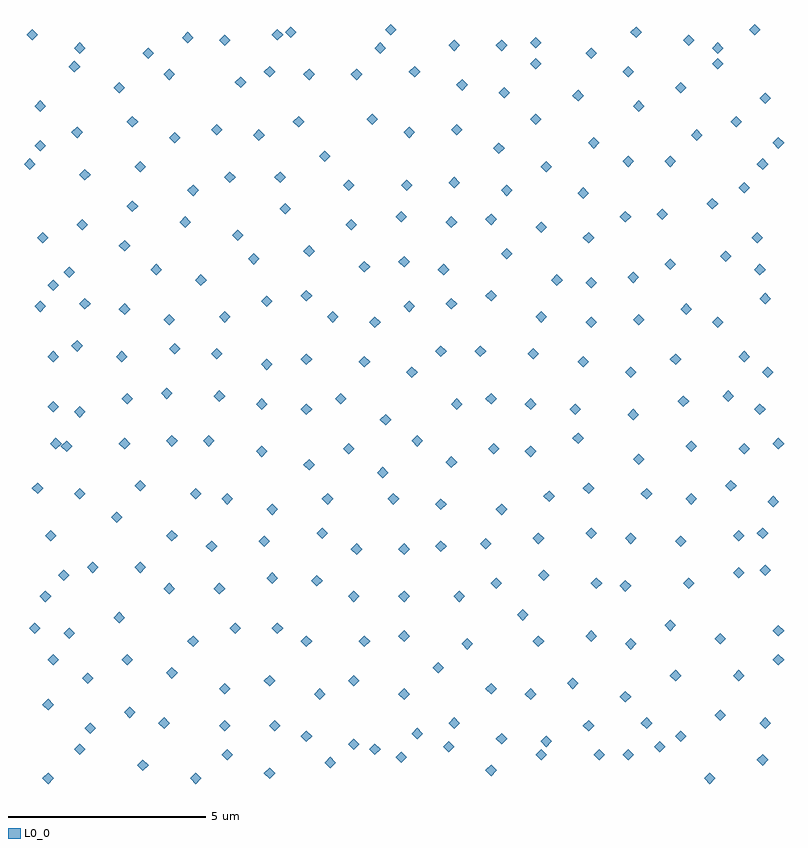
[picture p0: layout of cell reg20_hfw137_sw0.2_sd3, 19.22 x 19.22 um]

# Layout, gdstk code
import gdstk
lib = gdstk.Library(unit=1e-6, precision=1e-11)
def P(c, l, *ps):  # polygons
    for p in ps: c.add(gdstk.Polygon(p, *l))
L0_0 = (0, 0)

reg20_hfw137_sw0_2_sd3 = lib.new_cell('reg20_hfw137_sw0.2_sd3')
P(reg20_hfw137_sw0_2_sd3, L0_0, [(0.404,15.9374),(0.5455,15.796),(0.404,15.6545),(0.2626,15.796)],
  [(0.4707,19.204),(0.6121,19.0626),(0.4707,18.9212),(0.3293,19.0626)],
  [(0.5374,4.204),(0.6788,4.0626),(0.5374,3.9212),(0.396,4.0626)],
  [(0.604,7.7374),(0.7455,7.596),(0.604,7.4545),(0.4626,7.596)],
  [(0.6707,12.3374),(0.8121,12.196),(0.6707,12.0545),(0.5293,12.196)],
  [(0.6707,16.404),(0.8121,16.2626),(0.6707,16.1212),(0.5293,16.2626)],
  [(0.6707,17.404),(0.8121,17.2626),(0.6707,17.1212),(0.5293,17.2626)],
  [(0.7374,14.0707),(0.8788,13.9293),(0.7374,13.7879),(0.596,13.9293)],
  [(0.804,5.004),(0.9455,4.8626),(0.804,4.7212),(0.6626,4.8626)],
  [(0.8707,0.404),(1.0121,0.2626),(0.8707,0.1212),(0.7293,0.2626)],
  [(0.8707,2.2707),(1.0121,2.1293),(0.8707,1.9879),(0.7293,2.1293)],
  [(0.9374,6.5374),(1.0788,6.396),(0.9374,6.2545),(0.796,6.396)],
  [(1.004,3.404),(1.1455,3.2626),(1.004,3.1212),(0.8626,3.2626)],
  [(1.004,9.804),(1.1455,9.6626),(1.004,9.5212),(0.8626,9.6626)],
  [(1.004,11.0707),(1.1455,10.9293),(1.004,10.7879),(0.8626,10.9293)],
  [(1.004,12.8707),(1.1455,12.7293),(1.004,12.5879),(0.8626,12.7293)],
  [(1.0707,8.8707),(1.2121,8.7293),(1.0707,8.5879),(0.9293,8.7293)],
  [(1.2707,5.5374),(1.4121,5.396),(1.2707,5.2545),(1.1293,5.396)],
  [(1.3374,8.804),(1.4788,8.6626),(1.3374,8.5212),(1.196,8.6626)],
  [(1.404,4.0707),(1.5455,3.9293),(1.404,3.7879),(1.2626,3.9293)],
  [(1.404,13.204),(1.5455,13.0626),(1.404,12.9212),(1.2626,13.0626)],
  [(1.5374,18.404),(1.6788,18.2626),(1.5374,18.1212),(1.396,18.2626)],
  [(1.604,11.3374),(1.7455,11.196),(1.604,11.0545),(1.4626,11.196)],
  [(1.604,16.7374),(1.7455,16.596),(1.604,16.4545),(1.4626,16.596)],
  [(1.6707,1.1374),(1.8121,0.996),(1.6707,0.8545),(1.5293,0.996)],
  [(1.6707,7.604),(1.8121,7.4626),(1.6707,7.3212),(1.5293,7.4626)],
  [(1.6707,9.6707),(1.8121,9.5293),(1.6707,9.3879),(1.5293,9.5293)],
  [(1.6707,18.8707),(1.8121,18.7293),(1.6707,18.5879),(1.5293,18.7293)],
  [(1.7374,14.404),(1.8788,14.2626),(1.7374,14.1212),(1.596,14.2626)],
  [(1.804,12.404),(1.9455,12.2626),(1.804,12.1212),(1.6626,12.2626)],
  [(1.804,15.6707),(1.9455,15.5293),(1.804,15.3879),(1.6626,15.5293)],
  [(1.8707,2.9374),(2.0121,2.796),(1.8707,2.6545),(1.7293,2.796)],
  [(1.9374,1.6707),(2.0788,1.5293),(1.9374,1.3879),(1.796,1.5293)],
  [(2.004,5.7374),(2.1455,5.596),(2.004,5.4545),(1.8626,5.596)],
  [(2.604,7.004),(2.7455,6.8626),(2.604,6.7212),(2.4626,6.8626)],
  [(2.6707,4.4707),(2.8121,4.3293),(2.6707,4.1879),(2.5293,4.3293)],
  [(2.6707,17.8707),(2.8121,17.7293),(2.6707,17.5879),(2.5293,17.7293)],
  [(2.7374,11.0707),(2.8788,10.9293),(2.7374,10.7879),(2.596,10.9293)],
  [(2.804,8.8707),(2.9455,8.7293),(2.804,8.5879),(2.6626,8.7293)],
  [(2.804,12.2707),(2.9455,12.1293),(2.804,11.9879),(2.6626,12.1293)],
  [(2.804,13.8707),(2.9455,13.7293),(2.804,13.5879),(2.6626,13.7293)],
  [(2.8707,3.404),(3.0121,3.2626),(2.8707,3.1212),(2.7293,3.2626)],
  [(2.8707,10.004),(3.0121,9.8626),(2.8707,9.7212),(2.7293,9.8626)],
  [(2.9374,2.0707),(3.0788,1.9293),(2.9374,1.7879),(2.796,1.9293)],
  [(3.004,14.8707),(3.1455,14.7293),(3.004,14.5879),(2.8626,14.7293)],
  [(3.004,17.004),(3.1455,16.8626),(3.004,16.7212),(2.8626,16.8626)],
  [(3.204,5.7374),(3.3455,5.596),(3.204,5.4545),(3.0626,5.596)],
  [(3.204,7.804),(3.3455,7.6626),(3.204,7.5212),(3.0626,7.6626)],
  [(3.204,15.8707),(3.3455,15.7293),(3.204,15.5879),(3.0626,15.7293)],
  [(3.2707,0.7374),(3.4121,0.596),(3.2707,0.4545),(3.1293,0.596)],
  [(3.404,18.7374),(3.5455,18.596),(3.404,18.4545),(3.2626,18.596)],
  [(3.604,13.2707),(3.7455,13.1293),(3.604,12.9879),(3.4626,13.1293)],
  [(3.804,1.804),(3.9455,1.6626),(3.804,1.5212),(3.6626,1.6626)],
  [(3.8707,10.1374),(4.0121,9.996),(3.8707,9.8545),(3.7293,9.996)],
  [(3.9374,5.204),(4.0788,5.0626),(3.9374,4.9212),(3.796,5.0626)],
  [(3.9374,12.004),(4.0788,11.8626),(3.9374,11.7212),(3.796,11.8626)],
  [(3.9374,18.204),(4.0788,18.0626),(3.9374,17.9212),(3.796,18.0626)],
  [(4.004,3.0707),(4.1455,2.9293),(4.004,2.7879),(3.8626,2.9293)],
  [(4.004,6.5374),(4.1455,6.396),(4.004,6.2545),(3.8626,6.396)],
  [(4.004,8.9374),(4.1455,8.796),(4.004,8.6545),(3.8626,8.796)],
  [(4.0707,11.2707),(4.2121,11.1293),(4.0707,10.9879),(3.9293,11.1293)],
  [(4.0707,16.604),(4.2121,16.4626),(4.0707,16.3212),(3.9293,16.4626)],
  [(4.3374,14.4707),(4.4788,14.3293),(4.3374,14.1879),(4.196,14.3293)],
  [(4.404,19.1374),(4.5455,18.996),(4.404,18.8545),(4.2626,18.996)],
  [(4.5374,3.8707),(4.6788,3.7293),(4.5374,3.5879),(4.396,3.7293)],
  [(4.5374,15.2707),(4.6788,15.1293),(4.5374,14.9879),(4.396,15.1293)],
  [(4.604,0.404),(4.7455,0.2626),(4.604,0.1212),(4.4626,0.2626)],
  [(4.604,7.604),(4.7455,7.4626),(4.604,7.3212),(4.4626,7.4626)],
  [(4.7374,13.004),(4.8788,12.8626),(4.7374,12.7212),(4.596,12.8626)],
  [(4.9374,8.9374),(5.0788,8.796),(4.9374,8.6545),(4.796,8.796)],
  [(5.004,6.2707),(5.1455,6.1293),(5.004,5.9879),(4.8626,6.1293)],
  [(5.1374,11.1374),(5.2788,10.996),(5.1374,10.8545),(4.996,10.996)],
  [(5.1374,16.804),(5.2788,16.6626),(5.1374,16.5212),(4.996,16.6626)],
  [(5.204,5.204),(5.3455,5.0626),(5.204,4.9212),(5.0626,5.0626)],
  [(5.204,10.0707),(5.3455,9.9293),(5.204,9.7879),(5.0626,9.9293)],
  [(5.3374,1.7374),(5.4788,1.596),(5.3374,1.4545),(5.196,1.596)],
  [(5.3374,2.6707),(5.4788,2.5293),(5.3374,2.3879),(5.196,2.5293)],
  [(5.3374,12.0707),(5.4788,11.9293),(5.3374,11.7879),(5.196,11.9293)],
  [(5.3374,19.0707),(5.4788,18.9293),(5.3374,18.7879),(5.196,18.9293)],
  [(5.404,1.004),(5.5455,0.8626),(5.404,0.7212),(5.2626,0.8626)],
  [(5.404,7.4707),(5.5455,7.3293),(5.404,7.1879),(5.2626,7.3293)],
  [(5.4707,15.604),(5.6121,15.4626),(5.4707,15.3212),(5.3293,15.4626)],
  [(5.604,4.204),(5.7455,4.0626),(5.604,3.9212),(5.4626,4.0626)],
  [(5.6707,14.1374),(5.8121,13.996),(5.6707,13.8545),(5.5293,13.996)],
  [(5.7374,18.004),(5.8788,17.8626),(5.7374,17.7212),(5.596,17.8626)],
  [(6.0707,13.5374),(6.2121,13.396),(6.0707,13.2545),(5.9293,13.396)],
  [(6.204,16.6707),(6.3455,16.5293),(6.204,16.3879),(6.0626,16.5293)],
  [(6.2707,8.6707),(6.4121,8.5293),(6.2707,8.3879),(6.1293,8.5293)],
  [(6.2707,9.8707),(6.4121,9.7293),(6.2707,9.5879),(6.1293,9.7293)],
  [(6.3374,6.404),(6.4788,6.2626),(6.3374,6.1212),(6.196,6.2626)],
  [(6.404,10.8707),(6.5455,10.7293),(6.404,10.5879),(6.2626,10.7293)],
  [(6.404,12.4707),(6.5455,12.3293),(6.404,12.1879),(6.2626,12.3293)],
  [(6.4707,0.5374),(6.6121,0.396),(6.4707,0.2545),(6.3293,0.396)],
  [(6.4707,2.8707),(6.6121,2.7293),(6.4707,2.5879),(6.3293,2.7293)],
  [(6.4707,18.2707),(6.6121,18.1293),(6.4707,17.9879),(6.3293,18.1293)],
  [(6.5374,5.4707),(6.6788,5.3293),(6.5374,5.1879),(6.396,5.3293)],
  [(6.5374,7.204),(6.6788,7.0626),(6.5374,6.9212),(6.396,7.0626)],
  [(6.604,1.7374),(6.7455,1.596),(6.604,1.4545),(6.4626,1.596)],
  [(6.6707,4.204),(6.8121,4.0626),(6.6707,3.9212),(6.5293,4.0626)],
  [(6.6707,19.204),(6.8121,19.0626),(6.6707,18.9212),(6.5293,19.0626)],
  [(6.7374,15.604),(6.8788,15.4626),(6.7374,15.3212),(6.596,15.4626)],
  [(6.8707,14.804),(7.0121,14.6626),(6.8707,14.5212),(6.7293,14.6626)],
  [(7.004,19.2707),(7.1455,19.1293),(7.004,18.9879),(6.8626,19.1293)],
  [(7.204,17.004),(7.3455,16.8626),(7.204,16.7212),(7.0626,16.8626)],
  [(7.404,1.4707),(7.5455,1.3293),(7.404,1.1879),(7.2626,1.3293)],
  [(7.404,3.8707),(7.5455,3.7293),(7.404,3.5879),(7.2626,3.7293)],
  [(7.404,9.7374),(7.5455,9.596),(7.404,9.4545),(7.2626,9.596)],
  [(7.404,11.004),(7.5455,10.8626),(7.404,10.7212),(7.2626,10.8626)],
  [(7.404,12.604),(7.5455,12.4626),(7.404,12.3212),(7.2626,12.4626)],
  [(7.4707,8.3374),(7.6121,8.196),(7.4707,8.0545),(7.3293,8.196)],
  [(7.4707,13.7374),(7.6121,13.596),(7.4707,13.4545),(7.3293,13.596)],
  [(7.4707,18.204),(7.6121,18.0626),(7.4707,17.9212),(7.3293,18.0626)],
  [(7.6707,5.404),(7.8121,5.2626),(7.6707,5.1212),(7.5293,5.2626)],
  [(7.7374,2.5374),(7.8788,2.396),(7.7374,2.2545),(7.596,2.396)],
  [(7.804,6.604),(7.9455,6.4626),(7.804,6.3212),(7.6626,6.4626)],
  [(7.8707,16.1374),(8.0121,15.996),(7.8707,15.8545),(7.7293,15.996)],
  [(7.9374,7.4707),(8.0788,7.3293),(7.9374,7.1879),(7.796,7.3293)],
  [(8.004,0.804),(8.1455,0.6626),(8.004,0.5212),(7.8626,0.6626)],
  [(8.0707,12.0707),(8.2121,11.9293),(8.0707,11.7879),(7.9293,11.9293)],
  [(8.2707,10.004),(8.4121,9.8626),(8.2707,9.7212),(8.1293,9.8626)],
  [(8.4707,8.7374),(8.6121,8.596),(8.4707,8.4545),(8.3293,8.596)],
  [(8.4707,15.404),(8.6121,15.2626),(8.4707,15.1212),(8.3293,15.2626)],
  [(8.5374,14.404),(8.6788,14.2626),(8.5374,14.1212),(8.396,14.2626)],
  [(8.604,1.2707),(8.7455,1.1293),(8.604,0.9879),(8.4626,1.1293)],
  [(8.604,2.8707),(8.7455,2.7293),(8.604,2.5879),(8.4626,2.7293)],
  [(8.604,5.004),(8.7455,4.8626),(8.604,4.7212),(8.4626,4.8626)],
  [(8.6707,6.204),(8.8121,6.0626),(8.6707,5.9212),(8.5293,6.0626)],
  [(8.6707,18.204),(8.8121,18.0626),(8.6707,17.9212),(8.5293,18.0626)],
  [(8.8707,3.8707),(9.0121,3.7293),(8.8707,3.5879),(8.7293,3.7293)],
  [(8.8707,10.9374),(9.0121,10.796),(8.8707,10.6545),(8.7293,10.796)],
  [(8.8707,13.3374),(9.0121,13.196),(8.8707,13.0545),(8.7293,13.196)],
  [(9.0707,17.0707),(9.2121,16.9293),(9.0707,16.7879),(8.9293,16.9293)],
  [(9.1374,1.1374),(9.2788,0.996),(9.1374,0.8545),(8.996,0.996)],
  [(9.1374,11.9374),(9.2788,11.796),(9.1374,11.6545),(8.996,11.796)],
  [(9.2707,18.8707),(9.4121,18.7293),(9.2707,18.5879),(9.1293,18.7293)],
  [(9.3374,8.1374),(9.4788,7.996),(9.3374,7.8545),(9.196,7.996)],
  [(9.404,9.4707),(9.5455,9.3293),(9.404,9.1879),(9.2626,9.3293)],
  [(9.5374,19.3374),(9.6788,19.196),(9.5374,19.0545),(9.396,19.196)],
  [(9.604,7.4707),(9.7455,7.3293),(9.604,7.1879),(9.4626,7.3293)],
  [(9.804,0.9374),(9.9455,0.796),(9.804,0.6545),(9.6626,0.796)],
  [(9.804,14.604),(9.9455,14.4626),(9.804,14.3212),(9.6626,14.4626)],
  [(9.8707,2.5374),(10.0121,2.396),(9.8707,2.2545),(9.7293,2.396)],
  [(9.8707,4.004),(10.0121,3.8626),(9.8707,3.7212),(9.7293,3.8626)],
  [(9.8707,5.004),(10.0121,4.8626),(9.8707,4.7212),(9.7293,4.8626)],
  [(9.8707,6.204),(10.0121,6.0626),(9.8707,5.9212),(9.7293,6.0626)],
  [(9.8707,13.4707),(10.0121,13.3293),(9.8707,13.1879),(9.7293,13.3293)],
  [(9.9374,15.404),(10.0788,15.2626),(9.9374,15.1212),(9.796,15.2626)],
  [(10.004,12.3374),(10.1455,12.196),(10.004,12.0545),(9.8626,12.196)],
  [(10.004,16.7374),(10.1455,16.596),(10.004,16.4545),(9.8626,16.596)],
  [(10.0707,10.6707),(10.2121,10.5293),(10.0707,10.3879),(9.9293,10.5293)],
  [(10.1374,18.2707),(10.2788,18.1293),(10.1374,17.9879),(9.996,18.1293)],
  [(10.204,1.5374),(10.3455,1.396),(10.204,1.2545),(10.0626,1.396)],
  [(10.204,8.9374),(10.3455,8.796),(10.204,8.6545),(10.0626,8.796)],
  [(10.7374,3.204),(10.8788,3.0626),(10.7374,2.9212),(10.596,3.0626)],
  [(10.804,6.2707),(10.9455,6.1293),(10.804,5.9879),(10.6626,6.1293)],
  [(10.804,7.3374),(10.9455,7.196),(10.804,7.0545),(10.6626,7.196)],
  [(10.804,11.204),(10.9455,11.0626),(10.804,10.9212),(10.6626,11.0626)],
  [(10.8707,13.2707),(11.0121,13.1293),(10.8707,12.9879),(10.7293,13.1293)],
  [(11.004,1.204),(11.1455,1.0626),(11.004,0.9212),(10.8626,1.0626)],
  [(11.0707,8.404),(11.2121,8.2626),(11.0707,8.1212),(10.9293,8.2626)],
  [(11.0707,12.404),(11.2121,12.2626),(11.0707,12.1212),(10.9293,12.2626)],
  [(11.0707,14.4707),(11.2121,14.3293),(11.0707,14.1879),(10.9293,14.3293)],
  [(11.1374,1.804),(11.2788,1.6626),(11.1374,1.5212),(10.996,1.6626)],
  [(11.1374,15.4707),(11.2788,15.3293),(11.1374,15.1879),(10.996,15.3293)],
  [(11.1374,18.9374),(11.2788,18.796),(11.1374,18.6545),(10.996,18.796)],
  [(11.204,9.8707),(11.3455,9.7293),(11.204,9.5879),(11.0626,9.7293)],
  [(11.204,16.804),(11.3455,16.6626),(11.204,16.5212),(11.0626,16.6626)],
  [(11.2707,5.004),(11.4121,4.8626),(11.2707,4.7212),(11.1293,4.8626)],
  [(11.3374,17.9374),(11.4788,17.796),(11.3374,17.6545),(11.196,17.796)],
  [(11.4707,3.804),(11.6121,3.6626),(11.4707,3.5212),(11.3293,3.6626)],
  [(11.804,11.204),(11.9455,11.0626),(11.804,10.9212),(11.6626,11.0626)],
  [(11.9374,6.3374),(12.0788,6.196),(11.9374,6.0545),(11.796,6.196)],
  [(12.0707,0.604),(12.2121,0.4626),(12.0707,0.3212),(11.9293,0.4626)],
  [(12.0707,2.6707),(12.2121,2.5293),(12.0707,2.3879),(11.9293,2.5293)],
  [(12.0707,10.004),(12.2121,9.8626),(12.0707,9.7212),(11.9293,9.8626)],
  [(12.0707,12.604),(12.2121,12.4626),(12.0707,12.3212),(11.9293,12.4626)],
  [(12.0707,14.5374),(12.2121,14.396),(12.0707,14.2545),(11.9293,14.396)],
  [(12.1374,8.7374),(12.2788,8.596),(12.1374,8.4545),(11.996,8.596)],
  [(12.204,5.3374),(12.3455,5.196),(12.204,5.0545),(12.0626,5.196)],
  [(12.2707,16.3374),(12.4121,16.196),(12.2707,16.0545),(12.1293,16.196)],
  [(12.3374,1.404),(12.4788,1.2626),(12.3374,1.1212),(12.196,1.2626)],
  [(12.3374,7.204),(12.4788,7.0626),(12.3374,6.9212),(12.196,7.0626)],
  [(12.3374,18.9374),(12.4788,18.796),(12.3374,18.6545),(12.196,18.796)],
  [(12.404,17.7374),(12.5455,17.596),(12.404,17.4545),(12.2626,17.596)],
  [(12.4707,13.6707),(12.6121,13.5293),(12.4707,13.3879),(12.3293,13.5293)],
  [(12.4707,15.2707),(12.6121,15.1293),(12.4707,14.9879),(12.3293,15.1293)],
  [(12.8707,4.5374),(13.0121,4.396),(12.8707,4.2545),(12.7293,4.396)],
  [(13.0707,2.5374),(13.2121,2.396),(13.0707,2.2545),(12.9293,2.396)],
  [(13.0707,8.6707),(13.2121,8.5293),(13.0707,8.3879),(12.9293,8.5293)],
  [(13.0707,9.8707),(13.2121,9.7293),(13.0707,9.5879),(12.9293,9.7293)],
  [(13.1374,11.1374),(13.2788,10.996),(13.1374,10.8545),(12.996,10.996)],
  [(13.204,17.0707),(13.3455,16.9293),(13.204,16.7879),(13.0626,16.9293)],
  [(13.204,18.4707),(13.3455,18.3293),(13.204,18.1879),(13.0626,18.3293)],
  [(13.204,19.004),(13.3455,18.8626),(13.204,18.7212),(13.0626,18.8626)],
  [(13.2707,3.8707),(13.4121,3.7293),(13.2707,3.5879),(13.1293,3.7293)],
  [(13.2707,6.4707),(13.4121,6.3293),(13.2707,6.1879),(13.1293,6.3293)],
  [(13.3374,1.004),(13.4788,0.8626),(13.3374,0.7212),(13.196,0.8626)],
  [(13.3374,12.0707),(13.4788,11.9293),(13.3374,11.7879),(13.196,11.9293)],
  [(13.3374,14.3374),(13.4788,14.196),(13.3374,14.0545),(13.196,14.196)],
  [(13.404,5.5374),(13.5455,5.396),(13.404,5.2545),(13.2626,5.396)],
  [(13.4707,1.3374),(13.6121,1.196),(13.4707,1.0545),(13.3293,1.196)],
  [(13.4707,15.8707),(13.6121,15.7293),(13.4707,15.5879),(13.3293,15.7293)],
  [(13.5374,7.5374),(13.6788,7.396),(13.5374,7.2545),(13.396,7.396)],
  [(13.7374,13.004),(13.8788,12.8626),(13.7374,12.7212),(13.596,12.8626)],
  [(14.1374,2.804),(14.2788,2.6626),(14.1374,2.5212),(13.996,2.6626)],
  [(14.204,9.7374),(14.3455,9.596),(14.204,9.4545),(14.0626,9.596)],
  [(14.2707,9.004),(14.4121,8.8626),(14.2707,8.7212),(14.1293,8.8626)],
  [(14.2707,17.6707),(14.4121,17.5293),(14.2707,17.3879),(14.1293,17.5293)],
  [(14.404,10.9374),(14.5455,10.796),(14.404,10.6545),(14.2626,10.796)],
  [(14.404,15.204),(14.5455,15.0626),(14.404,14.9212),(14.2626,15.0626)],
  [(14.5374,1.7374),(14.6788,1.596),(14.5374,1.4545),(14.396,1.596)],
  [(14.5374,7.7374),(14.6788,7.596),(14.5374,7.4545),(14.396,7.596)],
  [(14.5374,14.0707),(14.6788,13.9293),(14.5374,13.7879),(14.396,13.9293)],
  [(14.604,4.004),(14.7455,3.8626),(14.604,3.7212),(14.4626,3.8626)],
  [(14.604,6.604),(14.7455,6.4626),(14.604,6.3212),(14.4626,6.4626)],
  [(14.604,11.9374),(14.7455,11.796),(14.604,11.6545),(14.4626,11.796)],
  [(14.604,12.9374),(14.7455,12.796),(14.604,12.6545),(14.4626,12.796)],
  [(14.604,18.7374),(14.7455,18.596),(14.604,18.4545),(14.4626,18.596)],
  [(14.6707,16.4707),(14.8121,16.3293),(14.6707,16.1879),(14.5293,16.3293)],
  [(14.7374,5.3374),(14.8788,5.196),(14.7374,5.0545),(14.596,5.196)],
  [(14.804,1.004),(14.9455,0.8626),(14.804,0.7212),(14.6626,0.8626)],
  [(15.4707,2.4707),(15.6121,2.3293),(15.4707,2.1879),(15.3293,2.3293)],
  [(15.4707,5.2707),(15.6121,5.1293),(15.4707,4.9879),(15.3293,5.1293)],
  [(15.4707,14.604),(15.6121,14.4626),(15.4707,14.3212),(15.3293,14.4626)],
  [(15.5374,1.004),(15.6788,0.8626),(15.5374,0.7212),(15.396,0.8626)],
  [(15.5374,16.004),(15.6788,15.8626),(15.5374,15.7212),(15.396,15.8626)],
  [(15.5374,18.2707),(15.6788,18.1293),(15.5374,17.9879),(15.396,18.1293)],
  [(15.604,3.804),(15.7455,3.6626),(15.604,3.5212),(15.4626,3.6626)],
  [(15.604,6.4707),(15.7455,6.3293),(15.604,6.1879),(15.4626,6.3293)],
  [(15.604,10.6707),(15.7455,10.5293),(15.604,10.3879),(15.4626,10.5293)],
  [(15.6707,9.604),(15.8121,9.4626),(15.6707,9.3212),(15.5293,9.4626)],
  [(15.6707,13.0707),(15.8121,12.9293),(15.6707,12.7879),(15.5293,12.9293)],
  [(15.7374,19.2707),(15.8788,19.1293),(15.7374,18.9879),(15.596,19.1293)],
  [(15.804,8.4707),(15.9455,8.3293),(15.804,8.1879),(15.6626,8.3293)],
  [(15.804,12.004),(15.9455,11.8626),(15.804,11.7212),(15.6626,11.8626)],
  [(15.804,17.404),(15.9455,17.2626),(15.804,17.1212),(15.6626,17.2626)],
  [(16.004,1.804),(16.1455,1.6626),(16.004,1.5212),(15.8626,1.6626)],
  [(16.004,7.604),(16.1455,7.4626),(16.004,7.3212),(15.8626,7.4626)],
  [(16.3374,1.204),(16.4788,1.0626),(16.3374,0.9212),(16.196,1.0626)],
  [(16.404,14.6707),(16.5455,14.5293),(16.404,14.3879),(16.2626,14.5293)],
  [(16.604,4.2707),(16.7455,4.1293),(16.604,3.9879),(16.4626,4.1293)],
  [(16.604,13.404),(16.7455,13.2626),(16.604,13.1212),(16.4626,13.2626)],
  [(16.604,16.004),(16.7455,15.8626),(16.604,15.7212),(16.4626,15.8626)],
  [(16.7374,3.004),(16.8788,2.8626),(16.7374,2.7212),(16.596,2.8626)],
  [(16.7374,11.004),(16.8788,10.8626),(16.7374,10.7212),(16.596,10.8626)],
  [(16.8707,1.4707),(17.0121,1.3293),(16.8707,1.1879),(16.7293,1.3293)],
  [(16.8707,6.404),(17.0121,6.2626),(16.8707,6.1212),(16.7293,6.2626)],
  [(16.8707,17.8707),(17.0121,17.7293),(16.8707,17.5879),(16.7293,17.7293)],
  [(16.9374,9.9374),(17.0788,9.796),(16.9374,9.6545),(16.796,9.796)],
  [(17.004,12.2707),(17.1455,12.1293),(17.004,11.9879),(16.8626,12.1293)],
  [(17.0707,5.3374),(17.2121,5.196),(17.0707,5.0545),(16.9293,5.196)],
  [(17.0707,19.0707),(17.2121,18.9293),(17.0707,18.7879),(16.9293,18.9293)],
  [(17.1374,7.4707),(17.2788,7.3293),(17.1374,7.1879),(16.996,7.3293)],
  [(17.1374,8.804),(17.2788,8.6626),(17.1374,8.5212),(16.996,8.6626)],
  [(17.2707,16.6707),(17.4121,16.5293),(17.2707,16.3879),(17.1293,16.5293)],
  [(17.604,0.404),(17.7455,0.2626),(17.604,0.1212),(17.4626,0.2626)],
  [(17.6707,14.9374),(17.8121,14.796),(17.6707,14.6545),(17.5293,14.796)],
  [(17.804,11.9374),(17.9455,11.796),(17.804,11.6545),(17.6626,11.796)],
  [(17.804,18.4707),(17.9455,18.3293),(17.804,18.1879),(17.6626,18.3293)],
  [(17.804,18.8707),(17.9455,18.7293),(17.804,18.5879),(17.6626,18.7293)],
  [(17.8707,2.004),(18.0121,1.8626),(17.8707,1.7212),(17.7293,1.8626)],
  [(17.8707,3.9374),(18.0121,3.796),(17.8707,3.6545),(17.7293,3.796)],
  [(18.004,13.604),(18.1455,13.4626),(18.004,13.3212),(17.8626,13.4626)],
  [(18.0707,10.0707),(18.2121,9.9293),(18.0707,9.7879),(17.9293,9.9293)],
  [(18.1374,7.804),(18.2788,7.6626),(18.1374,7.5212),(17.996,7.6626)],
  [(18.2707,17.004),(18.4121,16.8626),(18.2707,16.7212),(18.1293,16.8626)],
  [(18.3374,3.004),(18.4788,2.8626),(18.3374,2.7212),(18.196,2.8626)],
  [(18.3374,5.604),(18.4788,5.4626),(18.3374,5.3212),(18.196,5.4626)],
  [(18.3374,6.5374),(18.4788,6.396),(18.3374,6.2545),(18.196,6.396)],
  [(18.4707,8.7374),(18.6121,8.596),(18.4707,8.4545),(18.3293,8.596)],
  [(18.4707,11.0707),(18.6121,10.9293),(18.4707,10.7879),(18.3293,10.9293)],
  [(18.4707,15.3374),(18.6121,15.196),(18.4707,15.0545),(18.3293,15.196)],
  [(18.7374,19.3374),(18.8788,19.196),(18.7374,19.0545),(18.596,19.196)],
  [(18.804,14.0707),(18.9455,13.9293),(18.804,13.7879),(18.6626,13.9293)],
  [(18.8707,9.7374),(19.0121,9.596),(18.8707,9.4545),(18.7293,9.596)],
  [(18.8707,13.2707),(19.0121,13.1293),(18.8707,12.9879),(18.7293,13.1293)],
  [(18.9374,0.8707),(19.0788,0.7293),(18.9374,0.5879),(18.796,0.7293)],
  [(18.9374,6.604),(19.0788,6.4626),(18.9374,6.3212),(18.796,6.4626)],
  [(18.9374,15.9374),(19.0788,15.796),(18.9374,15.6545),(18.796,15.796)],
  [(19.004,1.804),(19.1455,1.6626),(19.004,1.5212),(18.8626,1.6626)],
  [(19.004,5.6707),(19.1455,5.5293),(19.004,5.3879),(18.8626,5.5293)],
  [(19.004,12.5374),(19.1455,12.396),(19.004,12.2545),(18.8626,12.396)],
  [(19.004,17.604),(19.1455,17.4626),(19.004,17.3212),(18.8626,17.4626)],
  [(19.0707,10.6707),(19.2121,10.5293),(19.0707,10.3879),(18.9293,10.5293)],
  [(19.204,7.404),(19.3455,7.2626),(19.204,7.1212),(19.0626,7.2626)],
  [(19.3374,3.404),(19.4788,3.2626),(19.3374,3.1212),(19.196,3.2626)],
  [(19.3374,4.1374),(19.4788,3.996),(19.3374,3.8545),(19.196,3.996)],
  [(19.3374,8.8707),(19.4788,8.7293),(19.3374,8.5879),(19.196,8.7293)],
  [(19.3374,16.4707),(19.4788,16.3293),(19.3374,16.1879),(19.196,16.3293)])

lib.write_gds('reg20_hfw137_sw0.2_sd3.gds')
